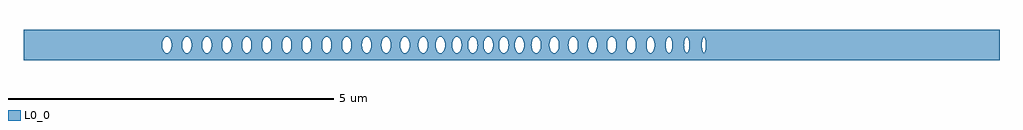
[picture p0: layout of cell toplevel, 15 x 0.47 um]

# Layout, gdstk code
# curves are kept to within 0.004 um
import gdstk
lib = gdstk.Library(unit=1e-6, precision=1e-09)
def P(c, l, *ps):  # polygons
    for p in ps: c.add(gdstk.Polygon(p, *l))
L0_0 = (0, 0)

toplevel = lib.new_cell('toplevel')
P(toplevel, L0_0, [(-4.754,0.016),(-4.741,0.074),(-4.741,0.234),(-7.5,0.234),(-7.5,-0.008),(-5.369,-0.008),(-5.364,0.047),(-5.346,0.093),(-5.323,0.119),(-5.296,0.128),(-5.261,0.112),(-5.24,0.081),(-5.227,0.039),(-5.224,0),(-5.062,0),(-5.057,0.047),(-5.039,0.093),(-5.016,0.119),(-4.989,0.128),(-4.963,0.119),(-4.943,0.098),(-4.928,0.068),(-4.917,0.016),(-4.92,-0.039),(-4.933,-0.081),(-4.954,-0.112),(-4.989,-0.128),(-5.016,-0.119),(-5.039,-0.093),(-5.057,-0.047),(-5.062,0),(-5.224,0),(-5.227,-0.039),(-5.24,-0.081),(-5.261,-0.112),(-5.296,-0.128),(-5.323,-0.119),(-5.346,-0.093),(-5.364,-0.047),(-5.369,-0.008),(-7.5,-0.008),(-7.5,-0.234),(-4.741,-0.234),(-4.741,-0.075),(-4.75,-0.047)],
  [(-4.732,0.093),(-4.717,0.112),(-4.696,0.125),(-4.682,0.128),(-4.656,0.119),(-4.626,0.081),(-4.613,0.039),(-4.61,0),(-4.448,0),(-4.441,0.054),(-4.425,0.093),(-4.402,0.119),(-4.375,0.128),(-4.362,0.125),(-4.336,0.108),(-4.319,0.081),(-4.306,0.039),(-4.303,-0.016),(-4.314,-0.068),(-4.329,-0.098),(-4.348,-0.119),(-4.375,-0.128),(-4.402,-0.119),(-4.425,-0.093),(-4.441,-0.054),(-4.448,0),(-4.61,0),(-4.613,-0.039),(-4.626,-0.081),(-4.656,-0.119),(-4.682,-0.128),(-4.709,-0.119),(-4.741,-0.075),(-4.741,-0.234),(-4.103,-0.234),(-4.103,-0.112),(-4.132,-0.061),(-4.141,0),(-4.132,0.061),(-4.103,0.112),(-4.103,0.234),(-4.741,0.234),(-4.741,0.075)],
  [(-4.095,0.119),(-4.068,0.128),(-4.041,0.119),(-4.029,0.108),(-4.012,0.081),(-4.001,0.047),(-3.996,-0.016),(-3.833,-0.016),(-3.827,0.054),(-3.811,0.093),(-3.788,0.119),(-3.761,0.128),(-3.747,0.125),(-3.722,0.108),(-3.702,0.075),(-3.692,0.039),(-3.689,-0.016),(-3.702,-0.075),(-3.715,-0.098),(-3.734,-0.119),(-3.761,-0.128),(-3.788,-0.119),(-3.811,-0.093),(-3.825,-0.061),(-3.833,-0.016),(-3.996,-0.016),(-4.012,-0.081),(-4.033,-0.112),(-4.068,-0.128),(-4.103,-0.112),(-4.103,-0.234),(-3.411,-0.234),(-3.411,-0.103),(-3.44,-0.125),(-3.454,-0.128),(-3.481,-0.119),(-3.513,-0.075),(-3.526,-0.016),(-3.52,0.054),(-3.493,0.108),(-3.481,0.119),(-3.454,0.128),(-3.427,0.119),(-3.411,0.103),(-3.411,0.234),(-4.103,0.234),(-4.103,0.112)],
  [(-3.385,-0.039),(-3.395,-0.075),(-3.411,-0.103),(-3.411,-0.234),(-2.586,-0.234),(-2.586,-0.087),(-2.605,-0.016),(-2.602,0.039),(-2.586,0.087),(-2.586,0.234),(-3.411,0.234),(-3.411,0.103),(-3.395,0.075),(-3.385,0.039),(-3.382,-0.016),(-3.219,-0.016),(-3.217,0.032),(-3.206,0.075),(-3.182,0.112),(-3.147,0.128),(-3.12,0.119),(-3.097,0.093),(-3.081,0.054),(-3.075,-0.016),(-2.912,-0.016),(-2.91,0.032),(-2.899,0.075),(-2.875,0.112),(-2.84,0.128),(-2.813,0.119),(-2.79,0.093),(-2.776,0.061),(-2.768,0.016),(-2.77,-0.032),(-2.781,-0.075),(-2.805,-0.112),(-2.84,-0.128),(-2.867,-0.119),(-2.886,-0.098),(-2.899,-0.075),(-2.912,-0.016),(-3.075,-0.016),(-3.081,-0.054),(-3.097,-0.093),(-3.12,-0.119),(-3.147,-0.128),(-3.174,-0.119),(-3.197,-0.093),(-3.219,-0.016),(-3.382,-0.016)],
  [(-2.579,0.098),(-2.56,0.119),(-2.533,0.128),(-2.498,0.112),(-2.469,0.061),(-2.461,-0.008),(-2.3,-0.008),(-2.295,0.047),(-2.277,0.093),(-2.254,0.119),(-2.218,0.126),(-2.192,0.112),(-2.169,0.075),(-2.158,0.039),(-2.155,-0.008),(-2.16,-0.047),(-2.178,-0.093),(-2.201,-0.119),(-2.227,-0.128),(-2.254,-0.119),(-2.277,-0.093),(-2.295,-0.047),(-2.3,-0.008),(-2.461,-0.008),(-2.474,-0.075),(-2.506,-0.119),(-2.533,-0.128),(-2.546,-0.125),(-2.568,-0.112),(-2.586,-0.087),(-2.586,-0.234),(-1.932,-0.234),(-1.932,-0.127),(-1.954,-0.119),(-1.977,-0.093),(-1.995,-0.047),(-2,-0.008),(-1.995,0.047),(-1.977,0.093),(-1.954,0.119),(-1.932,0.127),(-1.932,0.234),(-2.586,0.234),(-2.586,0.087)],
  [(-1.43,0.016),(-1.417,0.075),(-1.385,0.119),(-1.358,0.128),(-1.345,0.125),(-1.312,0.098),(-1.312,0.234),(-1.932,0.234),(-1.932,0.127),(-1.901,0.119),(-1.874,0.087),(-1.858,0.039),(-1.855,-0.016),(-1.709,-0.016),(-1.706,0.039),(-1.695,0.075),(-1.672,0.112),(-1.637,0.128),(-1.61,0.119),(-1.587,0.093),(-1.569,0.047),(-1.564,0.008),(-1.569,-0.047),(-1.587,-0.093),(-1.61,-0.119),(-1.637,-0.128),(-1.663,-0.119),(-1.683,-0.098),(-1.698,-0.068),(-1.709,-0.016),(-1.855,-0.016),(-1.866,-0.068),(-1.881,-0.098),(-1.901,-0.119),(-1.932,-0.127),(-1.932,-0.234),(-1.312,-0.234),(-1.312,-0.098),(-1.332,-0.119),(-1.358,-0.128),(-1.393,-0.112),(-1.422,-0.061)],
  [(-1.288,-0.032),(-1.312,-0.098),(-1.312,-0.234),(-0.665,-0.234),(-0.665,0.234),(-1.312,0.234),(-1.312,0.098),(-1.289,0.039),(-1.286,-0.008),(-1.165,-0.008),(-1.16,0.047),(-1.142,0.093),(-1.119,0.119),(-1.092,0.128),(-1.058,0.112),(-1.034,0.075),(-1.022,0.032),(-1.021,-0.016),(-0.911,-0.016),(-0.906,0.047),(-0.895,0.081),(-0.878,0.108),(-0.839,0.128),(-0.812,0.119),(-0.78,0.075),(-0.771,0.047),(-0.766,-0.008),(-0.771,-0.047),(-0.789,-0.093),(-0.804,-0.112),(-0.825,-0.125),(-0.852,-0.125),(-0.878,-0.108),(-0.9,-0.068),(-0.911,-0.016),(-1.021,-0.016),(-1.031,-0.068),(-1.046,-0.098),(-1.066,-0.119),(-1.092,-0.128),(-1.119,-0.119),(-1.139,-0.098),(-1.154,-0.068),(-1.165,-0.008),(-1.286,-0.008)],
  [(-0.19,0.016),(-0.186,0.047),(-0.168,0.093),(-0.153,0.112),(-0.132,0.125),(-0.132,0.234),(-0.665,0.234),(-0.665,0.032),(-0.656,0.068),(-0.633,0.108),(-0.608,0.125),(-0.585,0.126),(-0.556,0.108),(-0.536,0.075),(-0.524,0.032),(-0.523,-0.016),(-0.428,-0.016),(-0.425,0.039),(-0.412,0.081),(-0.391,0.112),(-0.356,0.128),(-0.329,0.119),(-0.306,0.093),(-0.29,0.054),(-0.283,0),(-0.29,-0.054),(-0.306,-0.093),(-0.329,-0.119),(-0.356,-0.128),(-0.382,-0.119),(-0.402,-0.098),(-0.417,-0.068),(-0.428,-0.016),(-0.523,-0.016),(-0.533,-0.068),(-0.548,-0.098),(-0.568,-0.119),(-0.595,-0.128),(-0.621,-0.119),(-0.641,-0.098),(-0.665,-0.032),(-0.665,-0.234),(-0.132,-0.234),(-0.132,-0.125),(-0.157,-0.108),(-0.18,-0.068),(-0.19,-0.024)],
  [(0.308,0.016),(0.321,0.075),(0.341,0.108),(0.353,0.119),(0.38,0.128),(0.406,0.119),(0.406,0.234),(-0.132,0.234),(-0.132,0.125),(-0.119,0.128),(-0.096,0.121),(-0.072,0.098),(-0.051,0.047),(-0.047,-0.016),(0.051,-0.016),(0.054,0.039),(0.067,0.081),(0.088,0.112),(0.123,0.128),(0.15,0.119),(0.173,0.093),(0.191,0.047),(0.196,0),(0.191,-0.047),(0.173,-0.093),(0.15,-0.119),(0.123,-0.128),(0.097,-0.119),(0.077,-0.098),(0.062,-0.068),(0.051,-0.016),(-0.047,-0.016),(-0.057,-0.068),(-0.072,-0.098),(-0.096,-0.121),(-0.119,-0.128),(-0.132,-0.125),(-0.132,-0.234),(0.406,-0.234),(0.406,-0.119),(0.38,-0.128),(0.366,-0.125),(0.337,-0.103),(0.314,-0.054)],
  [(0.406,0.234),(0.406,0.119),(0.426,0.098),(0.441,0.068),(0.452,-0.008),(0.584,-0.008),(0.589,0.047),(0.607,0.093),(0.63,0.119),(0.657,0.128),(0.683,0.119),(0.703,0.098),(0.718,0.068),(0.729,0.016),(0.726,-0.039),(0.713,-0.081),(0.692,-0.112),(0.657,-0.128),(0.63,-0.119),(0.607,-0.093),(0.589,-0.047),(0.584,-0.008),(0.452,-0.008),(0.436,-0.081),(0.406,-0.119),(0.406,-0.234),(1.02,-0.234),(1.02,-0.024),(1.01,-0.068),(0.995,-0.098),(0.975,-0.119),(0.948,-0.128),(0.922,-0.119),(0.902,-0.098),(0.887,-0.068),(0.876,-0.008),(0.878,0.032),(0.89,0.075),(0.91,0.108),(0.939,0.126),(0.971,0.121),(0.995,0.098),(1.01,0.068),(1.02,0.024),(1.02,0.234)],
  [(1.02,-0.234),(1.822,-0.234),(1.822,-0.123),(1.791,-0.093),(1.779,-0.068),(1.768,-0.016),(1.77,0.032),(1.779,0.068),(1.794,0.098),(1.822,0.123),(1.822,0.234),(1.02,0.234),(1.021,-0.008),(1.172,-0.008),(1.177,0.047),(1.195,0.093),(1.218,0.119),(1.245,0.128),(1.28,0.112),(1.301,0.081),(1.314,0.039),(1.317,-0.016),(1.469,-0.016),(1.471,0.032),(1.482,0.075),(1.506,0.112),(1.541,0.128),(1.568,0.119),(1.591,0.093),(1.607,0.054),(1.613,0.016),(1.611,-0.032),(1.6,-0.075),(1.576,-0.112),(1.541,-0.128),(1.514,-0.119),(1.491,-0.093),(1.469,-0.016),(1.317,-0.016),(1.306,-0.068),(1.291,-0.098),(1.271,-0.119),(1.245,-0.128),(1.218,-0.119),(1.195,-0.093),(1.177,-0.047),(1.172,-0.008),(1.021,-0.008)],
  [(2.37,0.016),(2.379,0.073),(2.399,0.112),(2.418,0.124),(2.443,0.112),(2.443,0.234),(1.822,0.234),(1.822,0.123),(1.854,0.125),(1.875,0.112),(1.89,0.093),(1.908,0.047),(1.912,-0.016),(2.075,-0.016),(2.079,0.046),(2.094,0.092),(2.114,0.117),(2.137,0.126),(2.16,0.117),(2.18,0.092),(2.192,0.061),(2.199,0.016),(2.195,-0.046),(2.18,-0.092),(2.16,-0.117),(2.137,-0.126),(2.114,-0.117),(2.094,-0.092),(2.082,-0.061),(2.075,-0.016),(1.912,-0.016),(1.899,-0.075),(1.879,-0.108),(1.854,-0.125),(1.822,-0.123),(1.822,-0.234),(2.443,-0.234),(2.443,-0.112),(2.418,-0.124),(2.393,-0.104),(2.374,-0.053)],
  [(2.472,-0.023),(2.463,-0.073),(2.443,-0.112),(2.443,-0.234),(7.5,-0.234),(7.5,0.234),(2.443,0.234),(2.443,0.112),(2.467,0.06),(2.473,0),(2.651,0),(2.659,0.072),(2.673,0.107),(2.691,0.122),(2.709,0.113),(2.726,0.078),(2.734,0.03),(2.734,-0.022),(2.926,-0.022),(2.934,0.082),(2.944,0.109),(2.955,0.12),(2.973,0.105),(2.987,0.044),(2.989,-0.015),(2.983,-0.071),(2.973,-0.105),(2.959,-0.12),(2.951,-0.118),(2.94,-0.101),(2.926,-0.022),(2.734,-0.022),(2.722,-0.089),(2.709,-0.113),(2.696,-0.122),(2.68,-0.116),(2.665,-0.089),(2.655,-0.052),(2.651,0),(2.473,0)])

lib.write_gds('toplevel.gds')
